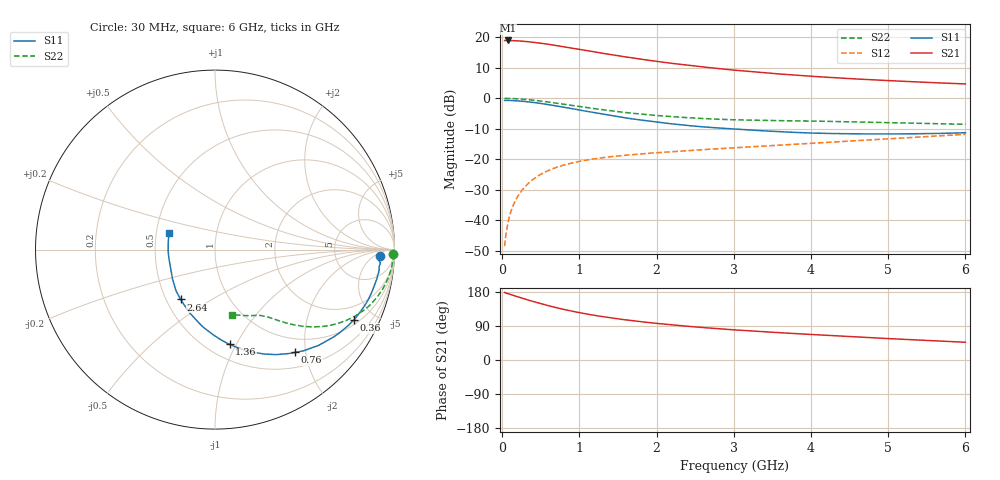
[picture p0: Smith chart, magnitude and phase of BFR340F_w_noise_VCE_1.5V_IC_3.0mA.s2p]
! Infineon Technologies  Discrete & RF Semiconductors
! BFR340F
! VCE =  1.5 V,  IC =  3.0 mA
! Common Emitter S-Parameters:  Nov 2015
# GHz  S  MA  R  50
!  f  S11  S21  S12  S22
! GHz  MAG  ANG  MAG  ANG  MAG  ANG  MAG  ANG
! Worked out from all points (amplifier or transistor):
!   206 points, 30 MHz to 6 GHz, reference 50 ohm
!   highest |S21| = 18.9 dB at 70 MHz (marker M1)
!   |S21| within 3 dB of that: start of sweep to 1.022 GHz
!   unconditionally stable (mu >= 1): 3.789 GHz to end of sweep
!   at 200 MHz: K = 0.08, MSG = 25.4 dB, |S12| = -32.1 dB
!   at 1.56 GHz: K = 0.62, MSG = 16.2 dB, |S12| = -18.7 dB
!   at 6 GHz: K = 1.03, MAG = 7.2 dB, |S12| = -11.8 dB
!   lowest NFmin = 0.87 dB at 100 MHz
!   S11 on the Smith chart (normalised r, x): 30 MHz: 20, -10; 360 MHz: 1.22, -3.84; 760 MHz: 0.75, -1.81; 1.36 GHz: 0.64, -0.94; 2.64 GHz: 0.59, -0.37; 6 GHz: 0.58, +0.12
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0.03  0.9226 -2.2  8.791 178.3  0.0038 87.6  0.9941 -1.4
0.05  0.917 -3.9  8.75 176.2  0.0061 87.2  0.9935 -2.4
0.07  0.9213 -5.4  8.816 175.0  0.0088 86.7  0.9932 -3.3
0.08  0.9195 -6.1  8.782 174.8  0.0101 86.7  0.9925 -3.8
0.14  0.9151 -10.8  8.764 170.8  0.0175 83.7  0.9866 -6.6
0.2  0.9051 -15.3  8.683 166.8  0.0248 81.5  0.9774 -9.4
0.36  0.8673 -26.8  8.34 156.7  0.043 74.8  0.9412 -16.3
0.46  0.8356 -33.5  8.055 150.9  0.0533 71.3  0.9121 -20.3
0.6  0.7864 -42.7  7.624 143.1  0.066 66.8  0.8659 -25.2
0.76  0.7263 -52.0  7.079 135.2  0.0782 62.5  0.8107 -30.0
0.9  0.677 -59.8  6.624 129.0  0.0873 59.4  0.7638 -33.7
1.04  0.6282 -66.8  6.184 123.4  0.0949 57.0  0.7199 -36.6
1.2  0.5784 -74.4  5.715 117.6  0.1024 54.7  0.6738 -39.6
1.36  0.534 -81.2  5.289 112.6  0.1088 53.1  0.6338 -42.0
1.68  0.4601 -93.8  4.576 103.8  0.1195 50.9  0.569 -45.9
2.02  0.4039 -105.4  3.981 96.2  0.129 50.0  0.52 -48.8
2.4  0.3584 -117.5  3.472 89.0  0.1391 49.8  0.4808 -51.6
2.64  0.3372 -124.5  3.211 85.0  0.1453 50.0  0.4627 -53.4
3.1  0.308 -136.1  2.814 78.4  0.1573 50.7  0.4412 -56.2
4.1  0.2675 -158.0  2.246 66.3  0.1864 52.9  0.4213 -60.8
5.1  0.261 179.8  1.917 55.6  0.2206 54.2  0.3967 -67.7
6  0.2724 160.4  1.713 46.8  0.2567 54.5  0.3742 -75.3
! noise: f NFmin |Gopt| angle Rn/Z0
0.1  0.87  0.67  1  0.35
0.45  0.9  0.62  3  0.38
0.9  0.9  0.59  12  0.41
1.9  1.18  0.46  23  0.37
2.4  1.27  0.43  32  0.35
